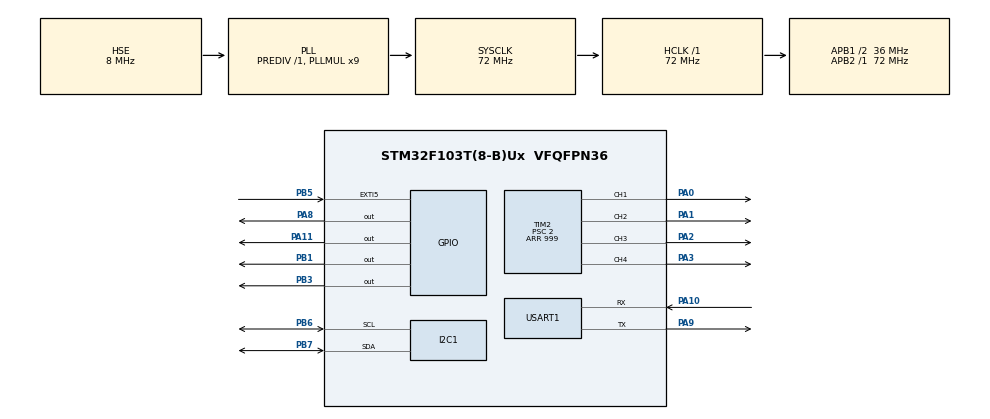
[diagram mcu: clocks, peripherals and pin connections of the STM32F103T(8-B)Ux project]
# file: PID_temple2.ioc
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Mcu.Family=STM32F1
Mcu.Name=STM32F103T(8-B)Ux
Mcu.Package=VFQFPN36
NVIC.EXTI9_5_IRQn=true\:1\:0\:true\:false\:true\:true\:true
NVIC.PriorityGroup=NVIC_PRIORITYGROUP_4
PA0-WKUP.Signal=S_TIM2_CH1_ETR
PA1.Signal=S_TIM2_CH2
PA10.Mode=Asynchronous
PA10.Signal=USART1_RX
PA11.GPIO_ModeDefaultOutputPP=GPIO_MODE_OUTPUT_PP
PA11.GPIO_PuPd=GPIO_NOPULL
PA11.PinState=GPIO_PIN_RESET
PA11.Signal=GPIO_Output
PA13.Mode=Serial_Wire
PA13.Signal=SYS_JTMS-SWDIO
PA14.Mode=Serial_Wire
PA14.Signal=SYS_JTCK-SWCLK
PA2.Signal=S_TIM2_CH3
PA3.Signal=S_TIM2_CH4
PA8.PinState=GPIO_PIN_RESET
PA8.Signal=GPIO_Output
PA9.Mode=Asynchronous
PA9.Signal=USART1_TX
PB1.GPIO_ModeDefaultOutputPP=GPIO_MODE_OUTPUT_PP
PB1.GPIO_PuPd=GPIO_NOPULL
PB1.PinState=GPIO_PIN_RESET
PB1.Signal=GPIO_Output
PB3.GPIO_PuPd=GPIO_NOPULL
PB3.PinState=GPIO_PIN_RESET
PB3.Signal=GPIO_Output
PB5.GPIO_ModeDefaultEXTI=GPIO_MODE_IT_FALLING
PB5.GPIO_PuPd=GPIO_NOPULL
PB5.Signal=GPXTI5
PB6.Mode=I2C
PB6.Signal=I2C1_SCL
PB7.Mode=I2C
PB7.Signal=I2C1_SDA
PD0-OSC_IN.Mode=HSE-External-Oscillator
PD0-OSC_IN.Signal=RCC_OSC_IN
PD1-OSC_OUT.Mode=HSE-External-Oscillator
PD1-OSC_OUT.Signal=RCC_OSC_OUT
ProjectManager.HeapSize=0x200
ProjectManager.StackSize=0x400
ProjectManager.TargetToolchain=MDK-ARM V5
RCC.AHBFreq_Value=72000000
RCC.APB1CLKDivider=RCC_HCLK_DIV2
RCC.APB1Freq_Value=36000000
RCC.APB1TimFreq_Value=72000000
RCC.APB2Freq_Value=72000000
RCC.APB2TimFreq_Value=72000000
RCC.HCLKFreq_Value=72000000
RCC.PLLMUL=RCC_PLL_MUL9
RCC.PLLSourceVirtual=RCC_PLLSOURCE_HSE
RCC.SYSCLKFreq_VALUE=72000000
RCC.SYSCLKSource=RCC_SYSCLKSOURCE_PLLCLK
RCC.USBFreq_Value=72000000
SH.S_TIM2_CH1_ETR.0=TIM2_CH1,PWM Generation1 CH1
SH.S_TIM2_CH2.0=TIM2_CH2,PWM Generation2 CH2
SH.S_TIM2_CH3.0=TIM2_CH3,PWM Generation3 CH3
SH.S_TIM2_CH4.0=TIM2_CH4,PWM Generation4 CH4
TIM2.Channel-PWM\ Generation1\ CH1=TIM_CHANNEL_1
TIM2.Channel-PWM\ Generation2\ CH2=TIM_CHANNEL_2
TIM2.Channel-PWM\ Generation3\ CH3=TIM_CHANNEL_3
TIM2.Channel-PWM\ Generation4\ CH4=TIM_CHANNEL_4
TIM2.OCPolarity_1=TIM_OCPOLARITY_HIGH
TIM2.OCPolarity_2=TIM_OCPOLARITY_HIGH
TIM2.OCPolarity_3=TIM_OCPOLARITY_HIGH
TIM2.OCPolarity_4=TIM_OCPOLARITY_HIGH
TIM2.Period=999
TIM2.Prescaler=2
USART1.VirtualMode=VM_ASYNC
VP_TIM2_VS_ClockSourceINT.Mode=Internal
board=custom

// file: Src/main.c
/* USER CODE BEGIN Header */
/**
  ******************************************************************************
  * @file           : main.c
  * @brief          : Main program body
  ******************************************************************************
  * @attention
  *
  * <h2><center>&copy; Copyright (c) 2020 STMicroelectronics.
  * All rights reserved.</center></h2>
  *
  * This software component is licensed by ST under BSD 3-Clause license,
  * the "License"; You may not use this file except in compliance with the
  * License. You may obtain a copy of the License at:
  *                        opensource.org/licenses/BSD-3-Clause
  *
  ******************************************************************************
  */
/* USER CODE END Header */

#include "main.h"
#include "i2c.h"
#include "tim.h"
#include "usart.h"
#include "gpio.h"

/* USER CODE BEGIN Includes */
#include "mpu_module.h"
#include "mltypes.h"

//		HAL_GPIO_WritePin(GPIOA,GPIO_PIN_8, GPIO_PIN_SET);									//LED3....LED4
//	HAL_GPIO_WritePin(GPIOA,GPIO_PIN_11, GPIO_PIN_SET);									//LED1....LED2
//		HAL_GPIO_WritePin(GPIOB,GPIO_PIN_1, GPIO_PIN_SET);									//LED5....LED6
//		HAL_GPIO_WritePin(GPIOB,GPIO_PIN_3, GPIO_PIN_SET);									//LED7....LED8

/* USER CODE END Includes */

void SystemClock_Config(void);

/* USER CODE BEGIN 0 */

void HAL_GPIO_EXTI_Callback(uint16_t GPIO_Pin)
{
	if(GPIO_Pin ==GPIO_PIN_5)
	{
		gyro_data_ready_cb();
	}

}

void mdelay(unsigned long num_ms)
{
	HAL_Delay(num_ms);
}

void get_tick_count(unsigned long *count)
{
	*count = HAL_GetTick();
}

/* USER CODE END 0 */

int main(void)
{
  /* USER CODE BEGIN 1 */

//unsigned long timestamp;
//	inv_error_t result;
//	long  data_buf[9];
//			float pitch,roll,yaw;

	uint32_t pwm2;
  /* USER CODE END 1 */

  /* MCU Configuration--------------------------------------------------------*/

  /* Reset of all peripherals, Initializes the Flash interface and the Systick. */
  HAL_Init();

  /* Configure the system clock */
  SystemClock_Config();

  /* Initialize all configured peripherals */
  MX_GPIO_Init();
  MX_I2C1_Init();
  MX_USART1_UART_Init();
  MX_TIM2_Init();
  /* USER CODE BEGIN 2 */

//	module_mpu_init();
//  get_tick_count(&timestamp);
//
//
//	result = module_dmp_init();
//	if(result ){
//		printf("DMP init is  not susseed");
//
//	}else{
//
//		printf("DMP init is susseed");
//
//	}
		HAL_TIM_PWM_Start(&htim2,TIM_CHANNEL_1);
		HAL_TIM_PWM_Start(&htim2,TIM_CHANNEL_2);
		HAL_TIM_PWM_Start(&htim2,TIM_CHANNEL_3);
		HAL_TIM_PWM_Start(&htim2,TIM_CHANNEL_4);

		pwm2=10;
		TIM_SetTIM2Compare2(pwm2);

  /* USER CODE END 2 */

  /* Infinite loop */
  /* USER CODE BEGIN WHILE */
  while (1)
  {

//
//		get_tick_count(&timestamp);
//		mpu_module_sampling();
//		if (mpu_read_euler(data_buf, &timestamp))
//		{
//			pitch = 1.0f*data_buf[0]/65536.f;
//			roll  = 1.0f*data_buf[1]/65536.f;
//			yaw 	= 1.0f*data_buf[2]/65536.f;
//			HAL_GPIO_WritePin(GPIOA,GPIO_PIN_8, GPIO_PIN_SET);									//LED3....LED4
//			printf("pitch:%lf\t\troll:%lf\t\tyaw:%lf\t\tt:%ld\t\t\r\n", pitch, roll, yaw, timestamp);//如果需要的话可以把这里换成串口的输出。
//		}
	//		HAL_Delay(100);
		if(pwm2<=500)
		pwm2++;

//		pwm2 = 500;
		TIM_SetTIM2Compare2(pwm2);

    /* USER CODE END WHILE */

  }
}

void SystemClock_Config(void)
{
  RCC_OscInitTypeDef RCC_OscInitStruct = {0};
  RCC_ClkInitTypeDef RCC_ClkInitStruct = {0};

  /** Initializes the CPU, AHB and APB busses clocks
  */
  RCC_OscInitStruct.OscillatorType = RCC_OSCILLATORTYPE_HSE;
  RCC_OscInitStruct.HSEState = RCC_HSE_ON;
  RCC_OscInitStruct.HSEPredivValue = RCC_HSE_PREDIV_DIV1;
  RCC_OscInitStruct.HSIState = RCC_HSI_ON;
  RCC_OscInitStruct.PLL.PLLState = RCC_PLL_ON;
  RCC_OscInitStruct.PLL.PLLSource = RCC_PLLSOURCE_HSE;
  RCC_OscInitStruct.PLL.PLLMUL = RCC_PLL_MUL9;
  if (HAL_RCC_OscConfig(&RCC_OscInitStruct) != HAL_OK)
  {
    Error_Handler();
  }
  /** Initializes the CPU, AHB and APB busses clocks
  */
  RCC_ClkInitStruct.ClockType = RCC_CLOCKTYPE_HCLK|RCC_CLOCKTYPE_SYSCLK
                              |RCC_CLOCKTYPE_PCLK1|RCC_CLOCKTYPE_PCLK2;
  RCC_ClkInitStruct.SYSCLKSource = RCC_SYSCLKSOURCE_PLLCLK;
  RCC_ClkInitStruct.AHBCLKDivider = RCC_SYSCLK_DIV1;
  RCC_ClkInitStruct.APB1CLKDivider = RCC_HCLK_DIV2;
  RCC_ClkInitStruct.APB2CLKDivider = RCC_HCLK_DIV1;

  if (HAL_RCC_ClockConfig(&RCC_ClkInitStruct, FLASH_LATENCY_2) != HAL_OK)
  {
    Error_Handler();
  }
}

void Error_Handler(void)
{
}

/************************ (C) COPYRIGHT STMicroelectronics *****END OF FILE****/
